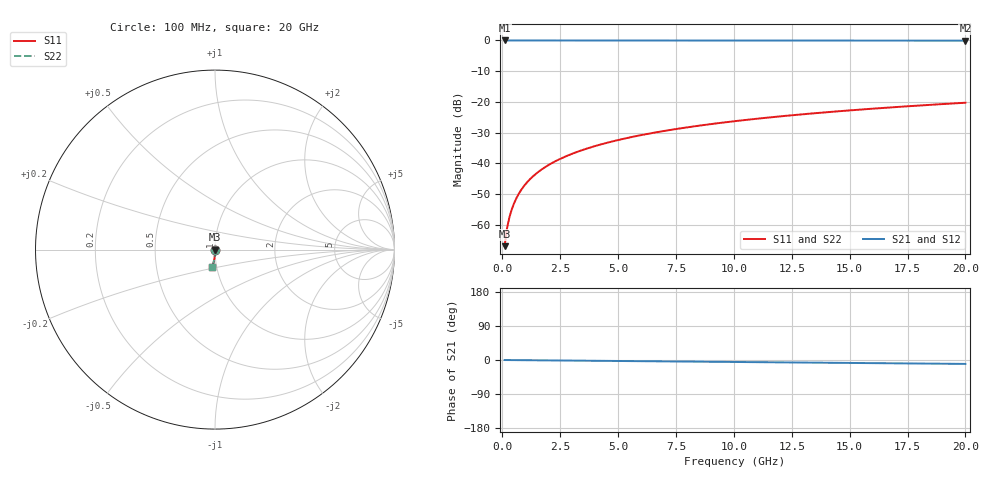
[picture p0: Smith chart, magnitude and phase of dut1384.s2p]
! Touchstone file exported from HFSS 2026.1.0
!  File:  C:/ffzhzh/LocalFiles/Ansys_Project_Files/temp_train_TSV_1384_1783196516_55132.aedt
!  Generated:  04:23:19 AM Jul  5, 2026
!  Design:  TSV
!  Project:  temp_train_TSV_1384_1783196516_55132
! Variables:
!  h_bsmrdl = 2um
!  h_ox = 20um
!  h_rdl = 5um
!  h_sub = 94.95um
!  h_tmrdl = 5um
!  h_tsv = 94.95um
!  h_via = 3um
!  l_bsmrdl = 300um
!  l_sub = 419.68um
!  l_tmrdl = 200um
!  m_sub = 200um
!  pitch = 25.2um
!  r_tsv = 9.84um
!  s_tmrdl = 10um
!  w_bsmrdl = 18um
!  w_sub = 500um
!  w_tmrdl = 12um
!  x_tsv_center1 = 206um
!  x_tsv_center2 = 524um
!  x_tsv_center3 = 736um
!  x_tsv_center4 = 1054um
!  x_tsv_center5 = 1266um
!  x_tsv_center6 = 1584um
# GHz S MA R 50.000000
! Terminal data exported
! Port[1] = TSV1_1_T1
! Port[2] = TSV1_1_T2
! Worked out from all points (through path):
!   200 points, 100 MHz to 20 GHz, reference 50 ohm
!   highest |S21| = 0.00 dB at 100 MHz (marker M1); lowest = -0.1 dB at 20 GHz (marker M2)
!   group delay of S21, straight-line fit = 1.43 ps
!   lowest |S11| = -67.0 dB at 100 MHz (marker M3), VSWR 1.00, Z = 50 - j0.0416 ohm
!   |S11| at or under -10 dB: start of sweep to end of sweep
!   |S22| runs from -67.0 to -20.3 dB; largest |S21 - S12| = 6.4e-15
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0.1  0.0004492 -67.9  0.9998 -0.1  0.9998 -0.1  0.0004492 -67.9
! Gamma 0 0 0 0
! Port Impedance 50 0 50 0
0.2  0.0008612 -77.1  0.9998 -0.1  0.9998 -0.1  0.0008612 -77.1
0.3  0.001294 -80.0  0.9998 -0.2  0.9998 -0.2  0.001294 -80.0
0.4  0.001741 -81.3  0.9997 -0.2  0.9997 -0.2  0.001741 -81.3
0.5  0.0022 -82.2  0.9997 -0.3  0.9997 -0.3  0.0022 -82.2
0.7  0.003142 -83.4  0.9996 -0.4  0.9996 -0.4  0.003142 -83.4
0.8  0.00362 -83.9  0.9996 -0.4  0.9996 -0.4  0.00362 -83.9
1  0.004582 -84.7  0.9995 -0.5  0.9995 -0.5  0.004582 -84.7
1.2  0.005548 -85.4  0.9995 -0.6  0.9995 -0.6  0.005548 -85.4
1.4  0.006514 -86.0  0.9994 -0.7  0.9994 -0.7  0.006514 -86.0
1.7  0.007963 -86.7  0.9994 -0.9  0.9994 -0.9  0.007963 -86.7
2  0.009412 -87.3  0.9993 -1.1  0.9993 -1.1  0.009412 -87.3
2.7  0.01279 -88.3  0.9992 -1.4  0.9992 -1.4  0.01279 -88.3
3.5  0.01667 -89.1  0.9991 -1.8  0.9991 -1.8  0.01667 -89.1
4.2  0.02006 -89.7  0.9989 -2.2  0.9989 -2.2  0.02006 -89.7
5  0.02396 -90.3  0.9988 -2.6  0.9988 -2.6  0.02396 -90.3
6.8  0.03275 -91.6  0.9983 -3.5  0.9983 -3.5  0.03275 -91.6
8.3  0.04008 -92.5  0.9979 -4.3  0.9979 -4.3  0.04008 -92.5
10.1  0.04888 -93.6  0.9974 -5.2  0.9974 -5.2  0.04888 -93.6
13.4  0.06498 -95.5  0.9963 -6.9  0.9963 -6.9  0.06498 -95.5
16.7  0.08101 -97.4  0.9949 -8.6  0.9949 -8.6  0.08101 -97.4
20  0.09696 -99.1  0.9933 -10.3  0.9933 -10.3  0.09696 -99.1
